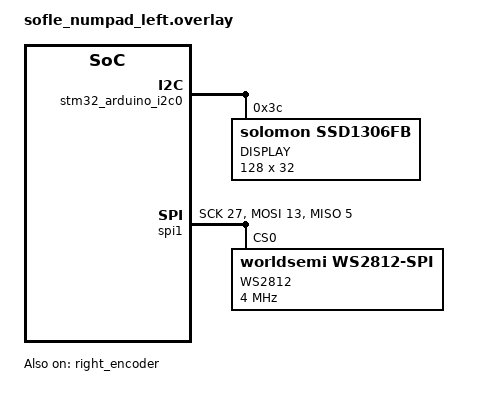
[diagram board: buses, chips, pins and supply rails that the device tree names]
/*
 * Copyright (c) 2022 kien242
 *
 * SPDX-License-Identifier: MIT
 */

#include "sofle_numpad.dtsi"
#include <dt-bindings/led/led.h>

/ {
	chosen {
		zmk,underglow = &led_strip;
	};
};

&default_transform {
	col-offset = <3>;
};

&kscan0 {
	col-gpios
		= <&stm32_arduino 5 GPIO_ACTIVE_HIGH>
		, <&stm32_arduino 20 GPIO_ACTIVE_HIGH>
		, <&stm32_arduino 18 GPIO_ACTIVE_HIGH>
		, <&stm32_arduino 16 GPIO_ACTIVE_HIGH>
		, <&stm32_arduino 7 GPIO_ACTIVE_HIGH>
		, <&stm32_arduino 29 GPIO_ACTIVE_HIGH>
		;

    row-gpios
        = <&stm32_arduino 8  (GPIO_ACTIVE_HIGH | GPIO_PULL_DOWN)>
        , <&stm32_arduino 17 (GPIO_ACTIVE_HIGH | GPIO_PULL_DOWN)>
        , <&stm32_arduino 31 (GPIO_ACTIVE_HIGH | GPIO_PULL_DOWN)>
        , <&stm32_arduino 30 (GPIO_ACTIVE_HIGH | GPIO_PULL_DOWN)>
        , <&stm32_arduino 4  (GPIO_ACTIVE_HIGH | GPIO_PULL_DOWN)>
        ;
};

&right_encoder {
        a-gpios = <&stm32_arduino 0 (GPIO_ACTIVE_HIGH | GPIO_PULL_UP)>;
        b-gpios = <&stm32_arduino 1 (GPIO_ACTIVE_HIGH | GPIO_PULL_UP)>;
        status = "okay";
};

&stm32_arduino_i2c0 {
    status = "okay";

    oled: ssd1306@3c {
        compatible = "solomon,ssd1306fb";
        reg = <0x3c>;
        label = "DISPLAY";
        width = <128>;
        height = <32>;
        segment-offset = <0>;
        page-offset = <0>;
        display-offset = <0>;
        multiplex-ratio = <31>;
        segment-remap;
        com-invdir;
        com-sequential;
        prechargep = <0x22>;
    };
};

&spi1 {
  compatible = "nordic,nrf-spim";

  status = "okay";
  mosi-pin = <13>;
  // Unused pins, needed for SPI definition, but not used by the ws2812 driver itself.
  sck-pin = <27>;
  miso-pin = <5>;

  led_strip: ws2812@0 {
    compatible = "worldsemi,ws2812-spi";
    label = "WS2812";

    /* SPI */
    reg = <0>; /* ignored, but necessary for SPI bindings */
    spi-max-frequency = <4000000>;

    /* WS2812 */
    chain-length = <6>; /* number of LEDs */
    spi-one-frame = <0x70>;
    spi-zero-frame = <0x40>;
    color-mapping = <LED_COLOR_ID_GREEN
                          LED_COLOR_ID_RED
                          LED_COLOR_ID_BLUE>;
  };
};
